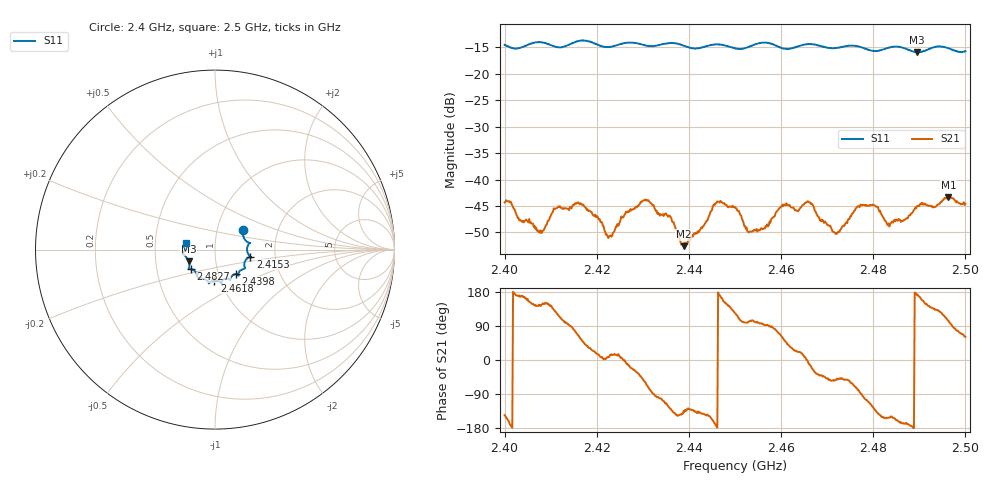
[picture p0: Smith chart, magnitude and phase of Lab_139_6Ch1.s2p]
# Hz S RI R 50
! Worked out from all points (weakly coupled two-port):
!   601 points, 2.4 GHz to 2.5 GHz, reference 50 ohm
!   highest |S21| = -43.27 dB at 2.4963 GHz (marker M1); lowest = -52.6 dB at 2.4388 GHz (marker M2)
!   lowest |S11| = -15.9 dB at 2.4895 GHz (marker M3), VSWR 1.38, Z = 37 - j5.03 ohm
!   |S11| at or under -10 dB: start of sweep to end of sweep
!   S12 and S22 are empty: the file has one direction only
!   S11 on the Smith chart (normalised r, x): 2.4 GHz: 1.33, +0.29; 2.4153 GHz: 1.48, -0.12; 2.4398 GHz: 1.21, -0.34; 2.4618 GHz: 0.94, -0.33; 2.4827 GHz: 0.75, -0.17; 2.5 GHz: 0.72, +0.06
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2.4e9  0.1552 0.1065  -0.005 -0.00346  0 0  0 0
2.407833e9  0.1955 0.0379  -0.00261 0.00201  0 0  0 0
2.411167e9  0.1795 0.0124  -0.00316 0.0043  0 0  0 0
2.415333e9  0.1966 -0.0392  0.00152 0.00577  0 0  0 0
2.416667e9  0.2023 -0.0432  0.00345 0.00468  0 0  0 0
2.422833e9  0.1638 -0.0744  0.00285 0.000615  0 0  0 0
2.43e9  0.1531 -0.1102  0.00402 -0.00485  0 0  0 0
2.433333e9  0.1301 -0.1341  -0.000632 -0.00479  0 0  0 0
2.438833e9  0.1237 -0.1374  -0.00165 -0.00167  0 0  0 0
2.439833e9  0.1154 -0.1361  -0.00164 -0.00212  0 0  0 0
2.445833e9  0.0841 -0.1705  -0.00592 -0.000776  0 0  0 0
2.45e9  0.0652 -0.1619  -0.00304 0.00459  0 0  0 0
2.453167e9  0.0377 -0.1774  -0.000681 0.00314  0 0  0 0
2.461833e9  -0.0034 -0.1729  0.0046 0.00344  0 0  0 0
2.466667e9  -0.0348 -0.188  0.00551 -0.00218  0 0  0 0
2.471667e9  -0.0665 -0.162  0.00187 -0.00253  0 0  0 0
2.477667e9  -0.0981 -0.1473  -0.000419 -0.00574  0 0  0 0
2.482667e9  -0.1348 -0.1086  -0.00362 -0.00179  0 0  0 0
2.483333e9  -0.1399 -0.1082  -0.00341 -0.00179  0 0  0 0
2.4895e9  -0.1457 -0.0662  -0.00554 0.00088  0 0  0 0
2.496333e9  -0.1742 -0.0133  -0.00163 0.00666  0 0  0 0
2.5e9  -0.1594 0.0384  0.00285 0.00515  0 0  0 0
